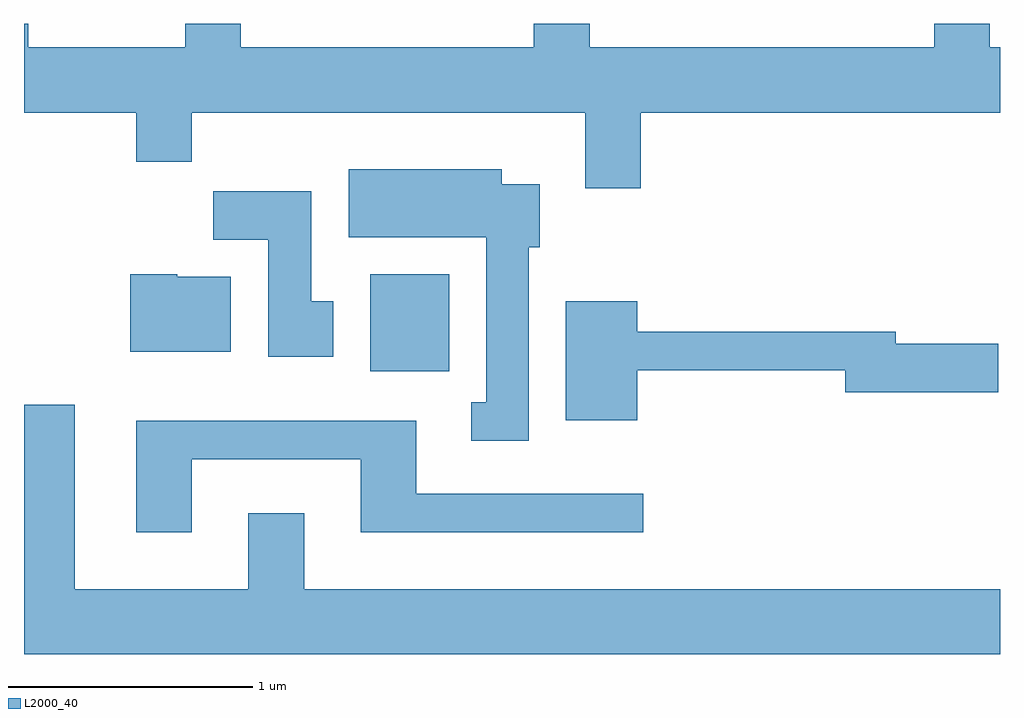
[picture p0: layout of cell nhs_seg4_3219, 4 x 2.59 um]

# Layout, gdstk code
import gdstk
lib = gdstk.Library(unit=1e-6, precision=1e-09)
def R(c, l, rs):  # rectangles x0, y0, x1, y1
    for r in rs: c.add(gdstk.rectangle(r[:2], r[2:], *l))
def P(c, l, *ps):  # polygons
    for p in ps: c.add(gdstk.Polygon(p, *l))
L2000_40 = (2000, 40)

nhs_seg4_3219 = lib.new_cell('nhs_seg4_3219')
R(nhs_seg4_3219, L2000_40, [(281.031,1302.556,281.354,1302.954)])
P(nhs_seg4_3219, L2000_40, [(282.139,1303.616),(283.611,1303.616),(283.611,1303.884),(283.569,1303.884),(283.569,1303.982),(283.341,1303.982),(283.341,1303.884),(281.929,1303.884),(281.929,1303.982),(281.701,1303.982),(281.701,1303.884),(280.499,1303.884),(280.499,1303.982),(280.271,1303.982),(280.271,1303.884),(279.629,1303.884),(279.629,1303.982),(279.611,1303.982),(279.611,1303.616),(280.071,1303.616),(280.071,1303.416),(280.299,1303.416),(280.299,1303.616),(281.911,1303.616),(281.911,1303.306),(282.139,1303.306)],
  [(281.679,1303.066),(281.724,1303.066),(281.724,1303.324),(281.569,1303.324),(281.569,1303.384),(280.941,1303.384),(280.941,1303.106),(281.506,1303.106),(281.506,1302.429),(281.443,1302.429),(281.443,1302.271),(281.679,1302.271)],
  [(280.879,1302.844),(280.789,1302.844),(280.789,1303.294),(280.386,1303.294),(280.386,1303.096),(280.611,1303.096),(280.611,1302.616),(280.879,1302.616)],
  [(280.459,1302.944),(280.24,1302.944),(280.24,1302.954),(280.046,1302.954),(280.046,1302.636),(280.459,1302.636)],
  [(282.124,1302.561),(282.976,1302.561),(282.976,1302.471),(283.604,1302.471),(283.604,1302.669),(283.184,1302.669),(283.184,1302.719),(282.124,1302.719),(282.124,1302.844),(281.831,1302.844),(281.831,1302.356),(282.124,1302.356)],
  [(283.611,1301.664),(280.759,1301.664),(280.759,1301.974),(280.531,1301.974),(280.531,1301.664),(279.819,1301.664),(279.819,1302.419),(279.611,1302.419),(279.611,1301.396),(283.611,1301.396)],
  [(280.299,1302.196),(280.991,1302.196),(280.991,1301.896),(282.148,1301.896),(282.148,1302.054),(281.219,1302.054),(281.219,1302.354),(280.071,1302.354),(280.071,1301.896),(280.299,1301.896)])

lib.write_gds('nhs_seg4_3219.gds')
